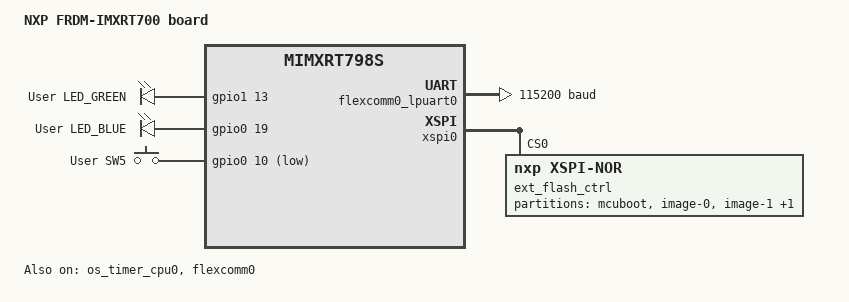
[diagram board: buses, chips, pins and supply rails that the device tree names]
/*
 * Copyright 2026 NXP
 *
 * SPDX-License-Identifier: Apache-2.0
 */

/dts-v1/;

#include <nxp/imxrt/imxrt7xx/nxp_rt798s_cm33_cpu0.dtsi>
#include <zephyr/dt-bindings/input/input-event-codes.h>
#include "frdm_imxrt700-pinctrl.dtsi"

/ {
	model = "NXP FRDM-IMXRT700 board";
	compatible = "nxp,mimxrt798s";

	aliases {
		led0 = &green_led;
		led1 = &blue_led;
		sw0 = &user_button_1;
	};

	chosen {
		zephyr,flash-controller = &ext_flash_ctrl;
		zephyr,flash = &w25q25pw;
		zephyr,code-partition = &slot0_partition;
		zephyr,sram = &sram0;
		zephyr,console = &flexcomm0_lpuart0;
		zephyr,shell-uart = &flexcomm0_lpuart0;
	};

	leds {
		compatible = "gpio-leds";

		green_led: led_0 {
			gpios = <&gpio1 13 GPIO_ACTIVE_HIGH>;
			label = "User LED_GREEN";
		};

		blue_led: led_1 {
			gpios = <&gpio0 19 GPIO_ACTIVE_HIGH>;
			label = "User LED_BLUE";
		};
	};

	gpio_keys {
		compatible = "gpio-keys";

		user_button_1: button_0 {
			label = "User SW5";
			gpios = <&gpio0 10 GPIO_ACTIVE_LOW>;
			zephyr,code = <INPUT_KEY_0>;
		};
	};
};

/*
 * RT700-FRDM board cm33_cpu0 uses OS timer as the kernel timer
 * In case we need to switch to SYSTICK timer, then
 * replace &os_timer with &systick
 */
&os_timer_cpu0 {
	status = "okay";
	wakeup-source;
};

&flexcomm0 {
	status = "okay";
};

&flexcomm0_lpuart0 {
	status = "okay";
	current-speed = <115200>;
	pinctrl-0 = <&pinmux_flexcomm0_lpuart>;
	pinctrl-names = "default";
};

&gpio0 {
	status = "okay";
};

&gpio1 {
	status = "okay";
};

&green_led {
	status = "okay";
};

&blue_led {
	status = "okay";
};

&xspi0 {
	status = "okay";
	pinctrl-0 = <&pinmux_xspi0>;
	pinctrl-names = "default";
	byte-order = <3>;
	ahb-buffer-write-flush;
	ahb-prefetch;

	ext_flash_ctrl: flash-controller@0 {
		compatible = "nxp,xspi-nor";
		/* W25Q25PW is a 32MB, 256Mbit flash part. */
		size = <DT_SIZE_M(32)>;
		reg = <0>;
		/* No DQS pin: sample with the strobe looped back through the DQS pad */
		sample-clk-source = <2>;
		#address-cells = <1>;
		#size-cells = <1>;
		ranges = <0x0 0x38000000 DT_SIZE_M(32)>;

		w25q25pw: flash@0 {
			compatible = "winbond,w25q25pw", "soc-nv-flash";
			reg = <0x0 DT_SIZE_M(32)>;
			erase-block-size = <DT_SIZE_K(4)>;
			write-block-size = <4>;

			#address-cells = <1>;
			#size-cells = <1>;
			ranges;

			partitions {
				#address-cells = <1>;
				#size-cells = <1>;
				ranges;

				/*
				 * Partition sizes must be aligned
				 * to the flash memory sector size of 4KB.
				 */
				boot_partition: partition@0 {
					compatible = "zephyr,mapped-partition";
					label = "mcuboot";
					reg = <0x00000000 DT_SIZE_K(128)>;
				};

				slot0_partition: partition@20000 {
					compatible = "zephyr,mapped-partition";
					label = "image-0";
					reg = <0x00020000 DT_SIZE_M(7)>;
				};

				slot1_partition: partition@720000 {
					compatible = "zephyr,mapped-partition";
					label = "image-1";
					reg = <0x00720000 DT_SIZE_M(7)>;
				};

				storage_partition: partition@e20000 {
					compatible = "zephyr,mapped-partition";
					label = "storage";
					reg = <0x00e20000 (DT_SIZE_M(2) - DT_SIZE_K(128))>;
				};
			};
		};
	};
};
